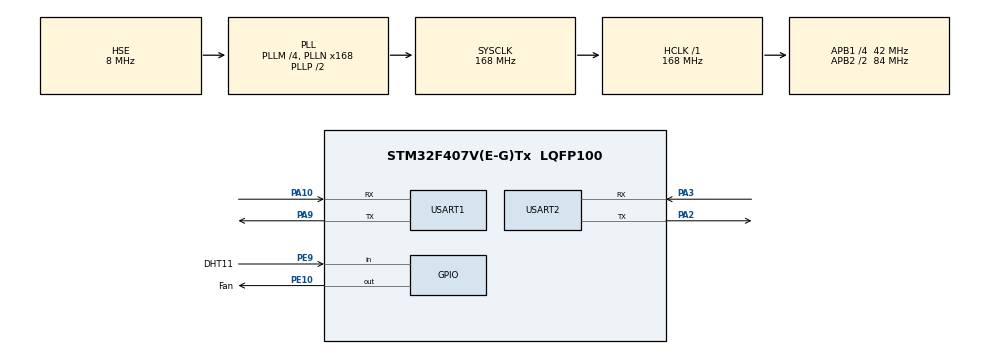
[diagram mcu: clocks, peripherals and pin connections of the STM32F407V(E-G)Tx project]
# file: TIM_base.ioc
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Dma.Request0=USART1_TX
Dma.Request1=USART2_TX
Dma.USART1_TX.0.Direction=DMA_MEMORY_TO_PERIPH
Dma.USART1_TX.0.FIFOMode=DMA_FIFOMODE_DISABLE
Dma.USART1_TX.0.Instance=DMA2_Stream7
Dma.USART1_TX.0.MemDataAlignment=DMA_MDATAALIGN_BYTE
Dma.USART1_TX.0.MemInc=DMA_MINC_ENABLE
Dma.USART1_TX.0.Mode=DMA_NORMAL
Dma.USART1_TX.0.PeriphDataAlignment=DMA_PDATAALIGN_BYTE
Dma.USART1_TX.0.PeriphInc=DMA_PINC_DISABLE
Dma.USART1_TX.0.Priority=DMA_PRIORITY_LOW
Dma.USART2_TX.1.Direction=DMA_MEMORY_TO_PERIPH
Dma.USART2_TX.1.FIFOMode=DMA_FIFOMODE_DISABLE
Dma.USART2_TX.1.Instance=DMA1_Stream6
Dma.USART2_TX.1.MemDataAlignment=DMA_MDATAALIGN_BYTE
Dma.USART2_TX.1.MemInc=DMA_MINC_ENABLE
Dma.USART2_TX.1.Mode=DMA_NORMAL
Dma.USART2_TX.1.PeriphDataAlignment=DMA_PDATAALIGN_BYTE
Dma.USART2_TX.1.PeriphInc=DMA_PINC_DISABLE
Dma.USART2_TX.1.Priority=DMA_PRIORITY_LOW
FREERTOS.BinarySemaphores01=uart1TxSem,Dynamic,NULL,Available;uart2TxSem,Dynamic,NULL,Available
FREERTOS.Queues01=cloudCmdQueue,16,uint16_t,0,Dynamic,NULL,NULL
FREERTOS.Tasks01=defaultTask,24,128,StartDefaultTask,Default,NULL,Dynamic,NULL,NULL;dht11Task,24,128,StartDht11Task,Default,NULL,Dynamic,NULL,NULL;fanTask,24,128,StartFanTask,Default,NULL,Dynamic,NULL,NULL
Mcu.Family=STM32F4
Mcu.Name=STM32F407V(E-G)Tx
Mcu.Package=LQFP100
NVIC.DMA1_Stream6_IRQn=true\:5\:0\:false\:false\:true\:true\:false\:true\:true
NVIC.DMA2_Stream7_IRQn=true\:5\:0\:false\:false\:true\:true\:false\:true\:true
NVIC.PriorityGroup=NVIC_PRIORITYGROUP_4
NVIC.TIM6_DAC_IRQn=true\:15\:0\:false\:false\:true\:false\:false\:true\:true
NVIC.TimeBase=TIM6_DAC_IRQn
NVIC.TimeBaseIP=TIM6
NVIC.USART1_IRQn=true\:5\:0\:false\:false\:true\:true\:true\:true\:true
NVIC.USART2_IRQn=true\:5\:0\:false\:false\:true\:true\:true\:true\:true
PA10.Mode=Asynchronous
PA10.Signal=USART1_RX
PA13.Mode=Serial_Wire
PA13.Signal=SYS_JTMS-SWDIO
PA14.Mode=Serial_Wire
PA14.Signal=SYS_JTCK-SWCLK
PA2.Mode=Asynchronous
PA2.Signal=USART2_TX
PA3.Mode=Asynchronous
PA3.Signal=USART2_RX
PA9.Mode=Asynchronous
PA9.Signal=USART1_TX
PE10.GPIO_Label=Fan
PE10.GPIO_Speed=GPIO_SPEED_FREQ_HIGH
PE10.Signal=GPIO_Output
PE9.GPIO_Label=DHT11
PE9.GPIO_PuPd=GPIO_PULLUP
PE9.Signal=GPIO_Input
PH0-OSC_IN.Mode=HSE-External-Oscillator
PH0-OSC_IN.Signal=RCC_OSC_IN
PH1-OSC_OUT.Mode=HSE-External-Oscillator
PH1-OSC_OUT.Signal=RCC_OSC_OUT
ProjectManager.HeapSize=0x200
ProjectManager.StackSize=0x400
ProjectManager.TargetToolchain=MDK-ARM V5.32
RCC.48MHZClocksFreq_Value=84000000
RCC.AHBFreq_Value=168000000
RCC.APB1CLKDivider=RCC_HCLK_DIV4
RCC.APB1Freq_Value=42000000
RCC.APB1TimFreq_Value=84000000
RCC.APB2CLKDivider=RCC_HCLK_DIV2
RCC.APB2Freq_Value=84000000
RCC.APB2TimFreq_Value=168000000
RCC.CortexFreq_Value=168000000
RCC.HCLKFreq_Value=168000000
RCC.HSE_VALUE=8000000
RCC.HSI_VALUE=16000000
RCC.LSE_VALUE=32768
RCC.PLLM=4
RCC.PLLN=168
RCC.PLLSourceVirtual=RCC_PLLSOURCE_HSE
RCC.SYSCLKFreq_VALUE=168000000
RCC.SYSCLKSource=RCC_SYSCLKSOURCE_PLLCLK
RCC.VCOOutputFreq_Value=336000000
TIM7.AutoReloadPreload=TIM_AUTORELOAD_PRELOAD_ENABLE
TIM7.Period=65535-1
TIM7.Prescaler=84-1
USART1.VirtualMode=VM_ASYNC
USART2.VirtualMode=VM_ASYNC
VP_FREERTOS_VS_CMSIS_V2.Mode=CMSIS_V2
VP_SYS_VS_tim6.Mode=TIM6
VP_TIM7_VS_ClockSourceINT.Mode=Enable_Timer
board=custom

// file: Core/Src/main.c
/* USER CODE BEGIN Header */
/**
  ******************************************************************************
  * @file           : main.c
  * @brief          : Main program body
  ******************************************************************************
  * @attention
  *
  * Copyright (c) 2026 STMicroelectronics.
  * All rights reserved.
  *
  * This software is licensed under terms that can be found in the LICENSE file
  * in the root directory of this software component.
  * If no LICENSE file comes with this software, it is provided AS-IS.
  *
  ******************************************************************************
  */
/* USER CODE END Header */
#include "main.h"
#include "cmsis_os.h"
#include "dma.h"
#include "tim.h"
#include "usart.h"
#include "gpio.h"

/* USER CODE BEGIN Includes */
#include <string.h>
#include <stdio.h>
#include "DHT11.h"
#include "Fan.h"
#include "print.h"
#include "protocol.h"
/* USER CODE END Includes */

/* USER CODE BEGIN PV */
extern osSemaphoreId_t uart1TxSemHandle;
extern osSemaphoreId_t uart2TxSemHandle;

Fan_st Fan_state=fan_off;
/* USER CODE END PV */

void SystemClock_Config(void);
void MX_FREERTOS_Init(void);

int main(void)
{

  /* MCU Configuration--------------------------------------------------------*/

  /* Reset of all peripherals, Initializes the Flash interface and the Systick. */
  HAL_Init();

  /* Configure the system clock */
  SystemClock_Config();

  /* Initialize all configured peripherals */
  MX_GPIO_Init();
  MX_DMA_Init();
  MX_TIM7_Init();
  MX_USART1_UART_Init();
  MX_USART2_UART_Init();
  /* USER CODE BEGIN 2 */
	HAL_TIM_Base_Start(&htim7);
	Fan_Off();
  /* USER CODE END 2 */

  /* Init scheduler */
  osKernelInitialize();  /* Call init function for freertos objects (in cmsis_os2.c) */
  MX_FREERTOS_Init();

  /* Start scheduler */
  osKernelStart();

  /* We should never get here as control is now taken by the scheduler */

  /* Infinite loop */
  while (1)
  {

  }
}

void SystemClock_Config(void)
{
  RCC_OscInitTypeDef RCC_OscInitStruct = {0};
  RCC_ClkInitTypeDef RCC_ClkInitStruct = {0};

  /** Configure the main internal regulator output voltage
  */
  __HAL_RCC_PWR_CLK_ENABLE();
  __HAL_PWR_VOLTAGESCALING_CONFIG(PWR_REGULATOR_VOLTAGE_SCALE1);

  /** Initializes the RCC Oscillators according to the specified parameters
  * in the RCC_OscInitTypeDef structure.
  */
  RCC_OscInitStruct.OscillatorType = RCC_OSCILLATORTYPE_HSE;
  RCC_OscInitStruct.HSEState = RCC_HSE_ON;
  RCC_OscInitStruct.PLL.PLLState = RCC_PLL_ON;
  RCC_OscInitStruct.PLL.PLLSource = RCC_PLLSOURCE_HSE;
  RCC_OscInitStruct.PLL.PLLM = 4;
  RCC_OscInitStruct.PLL.PLLN = 168;
  RCC_OscInitStruct.PLL.PLLP = RCC_PLLP_DIV2;
  RCC_OscInitStruct.PLL.PLLQ = 4;
  if (HAL_RCC_OscConfig(&RCC_OscInitStruct) != HAL_OK)
  {
    Error_Handler();
  }

  /** Initializes the CPU, AHB and APB buses clocks
  */
  RCC_ClkInitStruct.ClockType = RCC_CLOCKTYPE_HCLK|RCC_CLOCKTYPE_SYSCLK
                              |RCC_CLOCKTYPE_PCLK1|RCC_CLOCKTYPE_PCLK2;
  RCC_ClkInitStruct.SYSCLKSource = RCC_SYSCLKSOURCE_PLLCLK;
  RCC_ClkInitStruct.AHBCLKDivider = RCC_SYSCLK_DIV1;
  RCC_ClkInitStruct.APB1CLKDivider = RCC_HCLK_DIV4;
  RCC_ClkInitStruct.APB2CLKDivider = RCC_HCLK_DIV2;

  if (HAL_RCC_ClockConfig(&RCC_ClkInitStruct, FLASH_LATENCY_5) != HAL_OK)
  {
    Error_Handler();
  }
}

/* USER CODE BEGIN 4 */
void HAL_UART_TxCpltCallback(UART_HandleTypeDef *huart)
{
	if(huart->Instance==USART1)
	{
		osSemaphoreRelease(uart1TxSemHandle);
	}
	else if(huart->Instance==USART2)
	{
		osSemaphoreRelease(uart2TxSemHandle);
	}
}

/* USER CODE END 4 */

void HAL_TIM_PeriodElapsedCallback(TIM_HandleTypeDef *htim)
{
  if (htim->Instance == TIM6)
  {
    HAL_IncTick();
  }
}

void Error_Handler(void)
{
  __disable_irq();
  while (1)
  {
  }
}

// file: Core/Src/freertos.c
/* USER CODE BEGIN Header */
/**
  ******************************************************************************
  * File Name          : freertos.c
  * Description        : Code for freertos applications
  ******************************************************************************
  * @attention
  *
  * Copyright (c) 2026 STMicroelectronics.
  * All rights reserved.
  *
  * This software is licensed under terms that can be found in the LICENSE file
  * in the root directory of this software component.
  * If no LICENSE file comes with this software, it is provided AS-IS.
  *
  ******************************************************************************
  */
/* USER CODE END Header */

#include "FreeRTOS.h"
#include "task.h"
#include "main.h"
#include "cmsis_os.h"

/* USER CODE BEGIN Includes */
#include "DHT11.h"
#include "Fan.h"
#include "print.h"
#include <string.h>
#include "protocol.h"
/* USER CODE END Includes */

/* USER CODE BEGIN Variables */
float current_temp=0;
uint8_t temperature = 0;
uint8_t temperature_deci=0;
extern Fan_st Fan_state;
float temp_threshold = 30.0;  // 温度阈值
/* USER CODE END Variables */
/* Definitions for defaultTask */
osThreadId_t defaultTaskHandle;
const osThreadAttr_t defaultTask_attributes = {
  .name = "defaultTask",
  .stack_size = 128 * 4,
  .priority = (osPriority_t) osPriorityNormal,
};
/* Definitions for dht11Task */
osThreadId_t dht11TaskHandle;
const osThreadAttr_t dht11Task_attributes = {
  .name = "dht11Task",
  .stack_size = 128 * 4,
  .priority = (osPriority_t) osPriorityNormal,
};
/* Definitions for fanTask */
osThreadId_t fanTaskHandle;
const osThreadAttr_t fanTask_attributes = {
  .name = "fanTask",
  .stack_size = 128 * 4,
  .priority = (osPriority_t) osPriorityNormal,
};
/* Definitions for uart1TxSem */
osSemaphoreId_t uart1TxSemHandle;
const osSemaphoreAttr_t uart1TxSem_attributes = {
  .name = "uart1TxSem"
};
/* Definitions for uart2TxSem */
osSemaphoreId_t uart2TxSemHandle;
const osSemaphoreAttr_t uart2TxSem_attributes = {
  .name = "uart2TxSem"
};

void StartDefaultTask(void *argument);
void StartDht11Task(void *argument);
void StartFanTask(void *argument);

void MX_FREERTOS_Init(void); /* (MISRA C 2004 rule 8.1) */

void MX_FREERTOS_Init(void) {

  /* Create the semaphores(s) */
  /* creation of uart1TxSem */
  uart1TxSemHandle = osSemaphoreNew(1, 1, &uart1TxSem_attributes);

  /* creation of uart2TxSem */
  uart2TxSemHandle = osSemaphoreNew(1, 1, &uart2TxSem_attributes);

  /* Create the thread(s) */
  /* creation of defaultTask */
  defaultTaskHandle = osThreadNew(StartDefaultTask, NULL, &defaultTask_attributes);

  /* creation of dht11Task */
  dht11TaskHandle = osThreadNew(StartDht11Task, NULL, &dht11Task_attributes);

  /* creation of fanTask */
  fanTaskHandle = osThreadNew(StartFanTask, NULL, &fanTask_attributes);

}

void StartDefaultTask(void *argument)
{
  /* USER CODE BEGIN StartDefaultTask */
	uint8_t MESSAGE[] = "Task Started...\r\n";
	print_pc(MESSAGE,sizeof(MESSAGE)-1);
  /* Infinite loop */
  for(;;)
  {
    osDelay(1);
  }
  /* USER CODE END StartDefaultTask */
}

void StartDht11Task(void *argument)
{
  /* USER CODE BEGIN StartDht11Task */
	uint8_t humidity = 0;
	uint8_t humidity_deci=0;
	uint8_t status=0;
	uint8_t tx_buf[50];
	uint16_t len=0;
  /* Infinite loop */
  for(;;)
  {
		osDelay(2500);
		status = DHT11_ReadData(&temperature, &temperature_deci,&humidity,&humidity_deci);
		current_temp=temperature > 0? temperature+temperature_deci/10.0 : temperature - temperature_deci/10.0;

    if(status == 0)
    {
				Send_Sensor_Data(temperature,temperature_deci,humidity,humidity_deci,Fan_state);
    }
    else if(status == 1)
    {
				snprintf((char*)tx_buf,sizeof(tx_buf),"DHT11 Not Response!\r\n");
				len=strlen((char*)tx_buf);
        print_pc(tx_buf,len);
    }
    else if(status == 2)
    {
				snprintf((char*)tx_buf,sizeof(tx_buf),"CheckSum Error!\r\n");
				len=strlen((char*)tx_buf);
        print_pc(tx_buf,len);
    }
  }
  /* USER CODE END StartDht11Task */
}

void StartFanTask(void *argument)
{
  /* USER CODE BEGIN StartFanTask */
  /* Infinite loop */
  for(;;)
  {
    // 自动模式：根据温度阈值控制风扇
    if (current_temp > temp_threshold && Fan_state == 0) {
        Fan_On();
    } else if (current_temp <= temp_threshold && Fan_state == 1) {
        Fan_Off();
    }
    osDelay(500);
  }
  /* USER CODE END StartFanTask */
}
